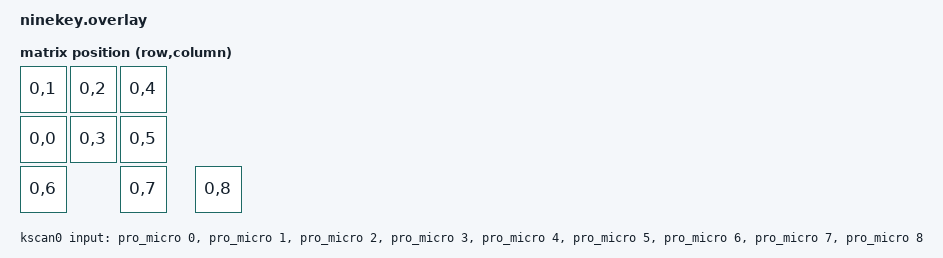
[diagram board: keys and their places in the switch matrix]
#include <dt-bindings/zmk/matrix_transform.h>
#include <physical_layouts.dtsi>
#include <behaviors/studio_unlock.dtsi>


/ {
    kscan0: kscan0 {
        compatible = "zmk,kscan-gpio-direct";

        input-gpios
            = <&pro_micro 0 (GPIO_ACTIVE_LOW | GPIO_PULL_UP)>
            , <&pro_micro 1 (GPIO_ACTIVE_LOW | GPIO_PULL_UP)>
            , <&pro_micro 2 (GPIO_ACTIVE_LOW | GPIO_PULL_UP)>
            , <&pro_micro 3 (GPIO_ACTIVE_LOW | GPIO_PULL_UP)>
            , <&pro_micro 4 (GPIO_ACTIVE_LOW | GPIO_PULL_UP)>
            , <&pro_micro 5 (GPIO_ACTIVE_LOW | GPIO_PULL_UP)>
            , <&pro_micro 6 (GPIO_ACTIVE_LOW | GPIO_PULL_UP)>
            , <&pro_micro 7 (GPIO_ACTIVE_LOW | GPIO_PULL_UP)>
            , <&pro_micro 8 (GPIO_ACTIVE_LOW | GPIO_PULL_UP)>
            ;
    };

    default_transform: keymap_transform_0 {
        compatible = "zmk,matrix-transform";
        rows = <1>;
        columns = <9>;

        map = <
            RC(0,1) RC(0,2) RC(0,4)
            RC(0,0) RC(0,3) RC(0,5)
            RC(0,6) RC(0,7) RC(0,8)
        >;
    };

    ninekey_layout: ninekey_layout {
        compatible = "zmk,physical-layout";
        display-name = "NineKey (K9 rear)";
        kscan = <&kscan0>;
        transform = <&default_transform>;

        // K1-K8 on the front; rear K9 is shown separately to the right.
        keys = <&key_physical_attrs 100 100   0   0 0 0 0>
             , <&key_physical_attrs 100 100 100   0 0 0 0>
             , <&key_physical_attrs 100 100 200   0 0 0 0>
             , <&key_physical_attrs 100 100   0 100 0 0 0>
             , <&key_physical_attrs 100 100 100 100 0 0 0>
             , <&key_physical_attrs 100 100 200 100 0 0 0>
             , <&key_physical_attrs 100 100   0 200 0 0 0>
             , <&key_physical_attrs 100 100 200 200 0 0 0>
             , <&key_physical_attrs 100 100 350 200 0 0 0>
             ;
    };

    combos {
        compatible = "zmk,combos";

        // Press front K1 and K8 together to unlock Studio editing.
        studio_unlock_combo {
            timeout-ms = <50>;
            key-positions = <0 7>;
            bindings = <&studio_unlock>;
        };
    };

    chosen {
        zmk,kscan = &kscan0;
        zmk,physical-layout = &ninekey_layout;
    };
};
